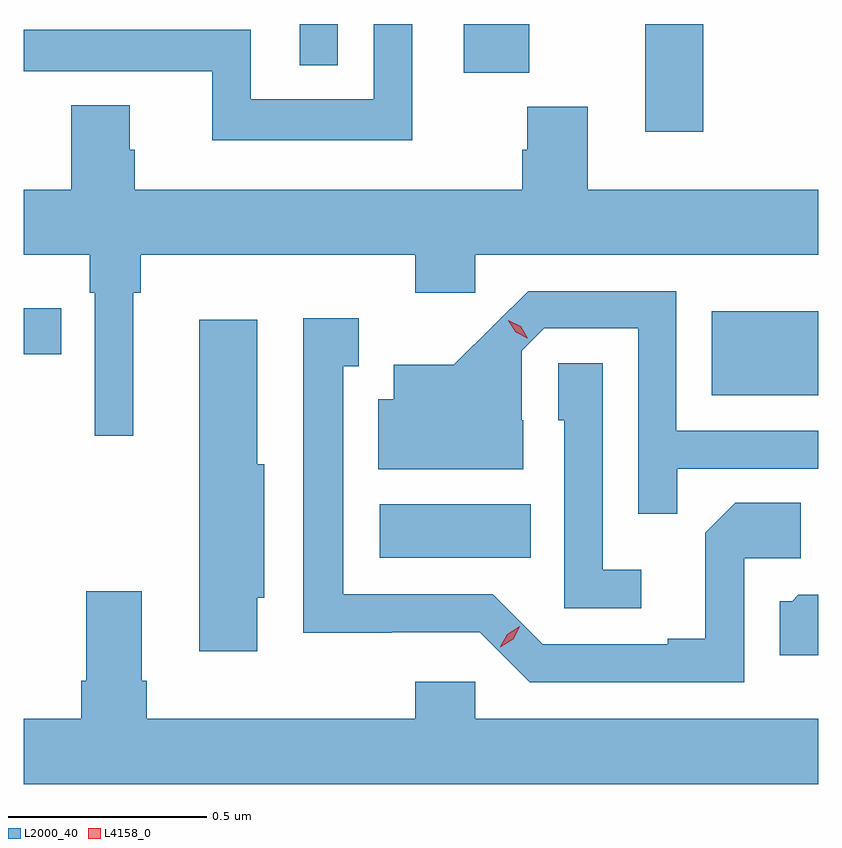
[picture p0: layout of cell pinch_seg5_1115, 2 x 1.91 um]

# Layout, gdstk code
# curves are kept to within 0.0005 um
import gdstk
lib = gdstk.Library(unit=1e-6, precision=1e-09)
def R(c, l, rs):  # rectangles x0, y0, x1, y1
    for r in rs: c.add(gdstk.rectangle(r[:2], r[2:], *l))
def P(c, l, *ps):  # polygons
    for p in ps: c.add(gdstk.Polygon(p, *l))
L2000_40 = (2000, 40)
L4158_0 = (4158, 0)

pinch_seg5_1115 = lib.new_cell('pinch_seg5_1115')
R(pinch_seg5_1115, L2000_40, [(792.498,854.666,792.878,854.8), (793.334,855.074,793.602,855.286), (791.602,855.178,791.696,855.294), (793.166,855.738,793.313,856.009), (792.71,855.886,792.874,856.009), (792.297,855.905,792.393,856.009)])
P(pinch_seg5_1115, L2000_40, [(792.58,856.009),(792.483,856.009),(792.483,855.82),(792.174,855.82),(792.174,855.994),(791.602,855.994),(791.602,855.89),(792.077,855.89),(792.077,855.716),(792.58,855.716)],
  [(791.878,855.332),(791.897,855.332),(791.897,855.428),(792.587,855.428),(792.587,855.333),(792.738,855.333),(792.738,855.428),(793.602,855.428),(793.602,855.592),(793.022,855.592),(793.022,855.801),(792.869,855.801),(792.869,855.692),(792.857,855.692),(792.857,855.592),(791.882,855.592),(791.882,855.693),(791.869,855.693),(791.869,855.805),(791.722,855.805),(791.722,855.592),(791.602,855.592),(791.602,855.428),(791.768,855.428),(791.768,855.332),(791.781,855.332),(791.781,854.973),(791.878,854.973)],
  [(793.247,854.889),(793.602,854.889),(793.602,854.985),(793.245,854.985),(793.245,855.336),(792.872,855.336),(792.685,855.151),(792.533,855.151),(792.533,855.064),(792.494,855.064),(792.494,854.888),(792.859,854.888),(792.859,855.012),(792.855,855.012),(792.855,855.186),(792.912,855.243),(793.149,855.243),(793.149,854.776),(793.247,854.776)],
  [(793.416,854.664),(793.558,854.664),(793.558,854.804),(793.393,854.804),(793.317,854.728),(793.317,854.461),(793.223,854.461),(793.223,854.448),(792.909,854.448),(792.783,854.574),(792.406,854.574),(792.406,855.147),(792.445,855.147),(792.445,855.268),(792.305,855.268),(792.305,854.477),(792.528,854.477),(792.528,854.478),(792.75,854.478),(792.876,854.352),(793.416,854.352)],
  [(792.19,854.565),(792.208,854.565),(792.208,854.901),(792.19,854.901),(792.19,855.265),(792.044,855.265),(792.044,854.43),(792.19,854.43)],
  [(793.156,854.635),(793.059,854.635),(793.059,855.155),(792.948,855.155),(792.948,855.012),(792.963,855.012),(792.963,854.538),(793.156,854.538)],
  [(793.602,854.26),(792.738,854.26),(792.738,854.353),(792.587,854.353),(792.587,854.26),(791.912,854.26),(791.912,854.356),(791.899,854.356),(791.899,854.581),(791.759,854.581),(791.759,854.356),(791.747,854.356),(791.747,854.26),(791.602,854.26),(791.602,854.096),(793.602,854.096)],
  [(793.602,854.572),(793.552,854.572),(793.536,854.556),(793.505,854.556),(793.505,854.42),(793.602,854.42)])
P(pinch_seg5_1115, L4158_0, [(792.87,855.218),(792.84,855.233),(792.822,855.262),(792.822,855.263),(792.822,855.263),(792.853,855.248),(792.871,855.218),(792.871,855.218)],
  [(792.802,854.44),(792.802,854.441),(792.819,854.473),(792.851,854.493),(792.851,854.493),(792.851,854.492),(792.834,854.46),(792.802,854.44)])

lib.write_gds('pinch_seg5_1115.gds')
